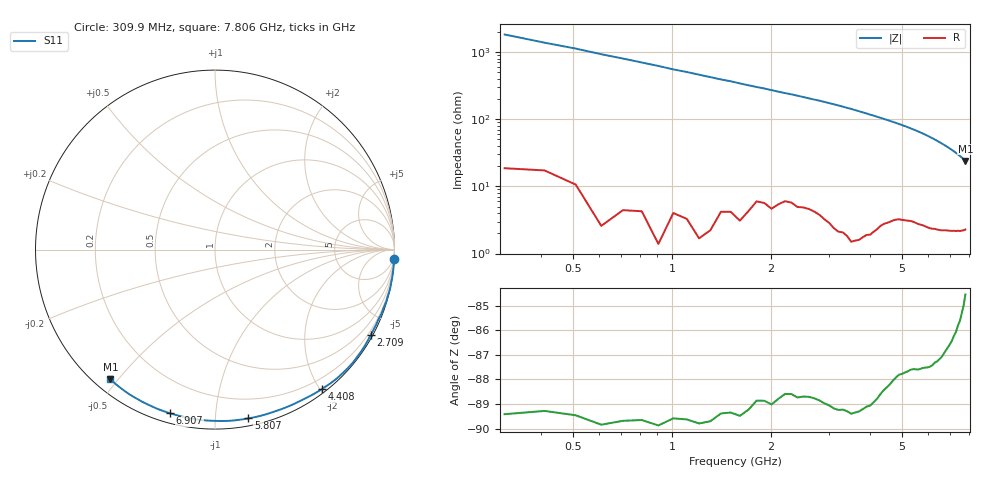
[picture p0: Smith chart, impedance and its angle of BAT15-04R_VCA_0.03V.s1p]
! Infineon Technologies  Discrete & RF Semiconductors
! BAT15-04R
! VCA = 0.03 V
! One-Port S-Parameters
# Hz  S  MA  R  50
!f  S11
!Hz  Mag  Ang
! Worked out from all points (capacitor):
!   76 points, 309.9 MHz to 7.806 GHz, reference 50 ohm
!   read as one part to ground: C = 282 fF near 309.9 MHz
!   lowest |Z| = 24 ohm at 7.806 GHz (marker M1)
!   S11 on the Smith chart (normalised r, x): 309.9 MHz: 0, -36; 2.709 GHz: 0.08, -3.92; 4.408 GHz: 0.06, -2.02; 5.807 GHz: 0.05, -1.22; 6.907 GHz: 0.04, -0.76; 7.806 GHz: 0.05, -0.48
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3.0985e8  0.9994 -3.1
9.0955e8  0.9996 -9.2
1.30935e9  0.9988 -13.5
1.6092e9  0.9974 -16.7
2.009e9  0.9939 -20.9
2.2089e9  0.9904 -23.1
2.4088e9  0.9906 -25.2
2.70865e9  0.9897 -28.6
2.90855e9  0.9908 -30.9
3.2084e9  0.9925 -34.7
3.6082e9  0.9926 -40.3
3.90805e9  0.9891 -44.7
4.10795e9  0.9862 -47.8
4.4078e9  0.9785 -52.6
4.70765e9  0.9715 -57.6
5.0075e9  0.9661 -62.8
5.30735e9  0.9619 -68.5
5.6072e9  0.9604 -74.5
5.8071e9  0.9586 -78.8
6.007e9  0.9577 -83.3
6.2069e9  0.9558 -87.9
6.50675e9  0.9522 -95.2
6.70665e9  0.949 -100.2
6.90655e9  0.9459 -105.3
7.10645e9  0.9432 -110.3
7.30635e9  0.94 -115.5
7.6062e9  0.9341 -123.5
7.8061e9  0.9285 -128.9
